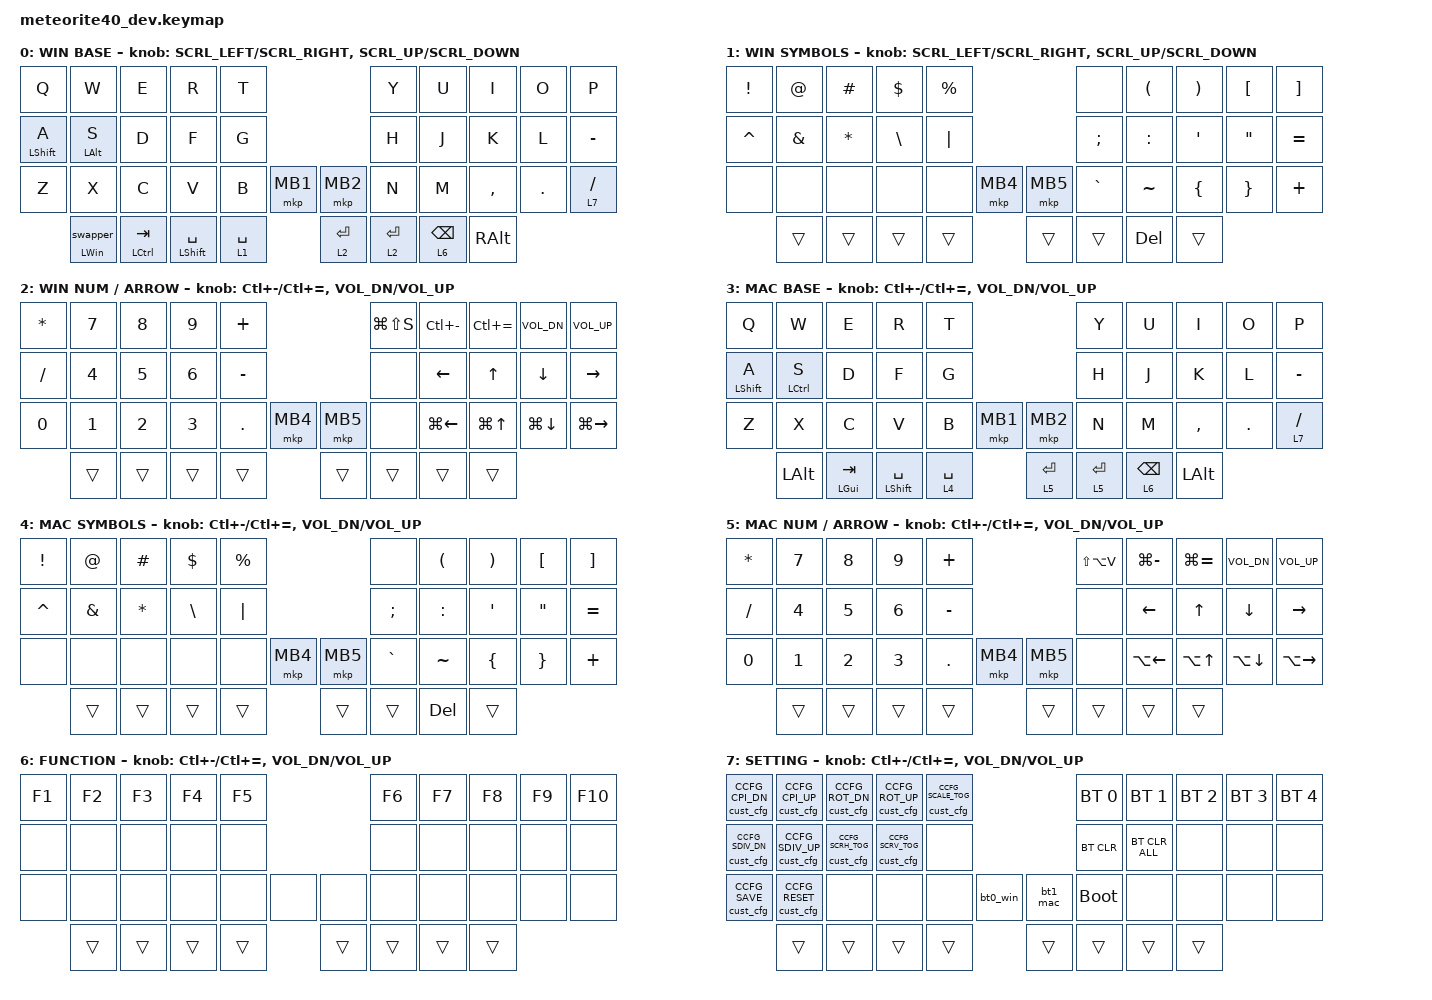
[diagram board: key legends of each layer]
#include <behaviors.dtsi>
#include <dt-bindings/zmk/bt.h>
#include <dt-bindings/zmk/keys.h>
#include <behaviors/custom_config.dtsi>
#include <dt-bindings/zmk/custom_config.h>

#define ZMK_POINTING_DEFAULT_SCRL_VAL 200
#include <dt-bindings/zmk/pointing.h>

&mt { 
	flavor = "tap-preferred"; // change hold to tap
	tapping-term-ms = <200>;
	quick-tap-ms = <150>; // change 200 to 150
};

&lt {
	flavor = "tap-preferred";
	tapping-term-ms = <150>; // change 200 to 150
	quick-tap-ms = <150>; // change 200 to 150
};

/ { 
    behaviors {
        bt0_win: bt0_win {
            compatible = "zmk,behavior-macro";
            label = "BT0_WIN";
            #binding-cells = <0>;
            wait-ms = <10>;
            bindings = <&bt BT_SEL 0>, <&to 0>;
        };

        bt1_mac: bt1_mac {
            compatible = "zmk,behavior-macro";
            label = "BT1_MAC";
            #binding-cells = <0>;
            wait-ms = <10>;
            bindings = <&bt BT_SEL 1>, <&to 3>;
        };

		swapper: swapper {
			compatible = "zmk,behavior-smart-toggle";
			#binding-cells = <0>;
			bindings = <&kp LALT>, <&kp TAB>;
			ignored-key-positions = <16 17 18 19 32 36>;  /* カーソル、LWIN、Layer2/Enter */
		};

		ht_sw: ht_sw {
			compatible = "zmk,behavior-hold-tap";
			#binding-cells = <2>;
			tapping-term-ms = <150>;
			flavor = "hold-preferred";			
			bindings = <&kp>, <&swapper>;
		}; 

        mouse_scroll: mouse_wheel {
            compatible = "zmk,behavior-sensor-rotate-var";
            #sensor-binding-cells = <2>;
            bindings = <&msc>, <&msc>;
            tap-ms = <25>;
        };
    };
	
	combos {
		compatible = "zmk,combos";

        //common win and mac
		lang1 {
			bindings = <&kp LANG1>;
			key-positions = <12 13>; /* D + F */
			layers = <0 3>;
		};

		lang2 {
			bindings = <&kp LANG2>;
			key-positions = <16 17>; /* J + K */
			layers = <0 3>;
		};

		esc {
			bindings = <&kp ESCAPE>;
			key-positions = <20 21>; /* Z + X */
			layers = <0 3>;
		};

		tab {
			bindings = <&kp TAB>;
			key-positions = <0 1>; /* Q + W */
			layers = <0 3>;
		};

        //win only
		home_win {
			bindings = <&kp HOME>;
			key-positions = <16 17>; /* J + K (on layer 2) */
			layers = <2>;
		};

		end_win {
			bindings = <&kp END>;
			key-positions = <18 19>; /* L + - (on layer 2) */
			layers = <2>;
		};

		ctrl_home_win {
			bindings = <&kp LC(HOME)>;
			key-positions = <16 18>; /* J + L (on layer 2) */
			layers = <2>;
		};

		ctrl_end_win {
			bindings = <&kp LC(END)>;
			key-positions = <17 19>; /* K + - (on layer 2) */
			layers = <2>;
		};

        //mac only
		home_mac {
			bindings = <&kp LG(LEFT)>;
			key-positions = <16 17>; /* J + K (on layer 5) */
			layers = <5>;
		};

		end_mac {
			bindings = <&kp LG(RIGHT)>;
			key-positions = <18 19>; /* L + - (on layer 5) */
			layers = <5>;
		};

		ctrl_home_mac {
			bindings = <&kp LG(UP)>;
			key-positions = <16 18>; /* J + L (on layer 5) */
			layers = <5>;
		};

		ctrl_end_mac {
			bindings = <&kp LG(DOWN)>;
			key-positions = <17 19>; /* K + - (on layer 5) */
			layers = <5>;
		};
	};

	keymap {
		compatible = "zmk,keymap";
		layout = &LAYOUT_2U_SPACE;

		win_base {
			display-name = "WIN BASE";
			bindings = <
				&kp Q        &kp W       &kp E        &kp R        &kp T                                 &kp Y        &kp U       &kp I       &kp O    &kp P
				&mt LSHIFT A &mt LALT S  &kp D        &kp F        &kp G                                 &kp H        &kp J       &kp K       &kp L    &kp MINUS
				&kp Z        &kp X       &kp C        &kp V        &kp B        &mkp MB1     &mkp MB2    &kp N        &kp M       &kp COMMA   &kp DOT  &lt 7 SLASH
								&ht_sw LWIN 0 &mt LCTRL TAB  &mt LSHIFT SPACE  &lt 1 SPACE  &lt 2 ENTER  &lt 2 ENTER  &lt 6 BSPC  &kp RALT
			>;

			sensor-bindings =
				<&mouse_scroll SCRL_LEFT SCRL_RIGHT>,
				<&mouse_scroll SCRL_UP SCRL_DOWN>;
				//<&inc_dec_kp LC(MINUS) LC(EQUAL)>, // RE0: ctrl + - / +
				//<&inc_dec_kp C_VOL_DN C_VOL_UP>; // RE1: volume down/up
		};

		win_layer_1 {
			display-name = "WIN SYMBOLS";
			bindings = <
				&kp EXCL   &kp AT    &kp HASH  &kp DLLR  &kp PRCNT                       &none      &kp LPAR   &kp RPAR   &kp LBKT   &kp RBKT
				&kp CARET  &kp AMPS  &kp STAR  &kp BSLH  &kp PIPE                        &kp SEMI   &kp COLON  &kp SQT    &kp DQT    &kp EQUAL
				&none      &none     &none     &none     &none      &mkp MB4  &mkp MB5   &kp GRAVE  &kp TILDE  &kp LBRC   &kp RBRC   &kp PLUS
									 &trans     &trans    &trans    &trans    &trans     &trans    &kp DEL     &trans
			>;

			sensor-bindings =
				<&mouse_scroll SCRL_LEFT SCRL_RIGHT>,
				<&mouse_scroll SCRL_UP SCRL_DOWN>;
		};

		win_layer_2 {
			display-name = "WIN NUM / ARROW";
			bindings = <
				&kp ASTRK        &kp N7     &kp N8     &kp N9     &kp PLUS                        &kp LG(LS(S)) &kp LC(MINUS) &kp LC(EQUAL) &kp C_VOL_DN &kp C_VOL_UP
				&kp SLASH        &kp N4     &kp N5     &kp N6     &kp MINUS                       &none         &kp LEFT      &kp UP        &kp DOWN     &kp RIGHT
				&kp N0           &kp N1     &kp N2     &kp N3     &kp DOT   &mkp MB4   &mkp MB5   &none         &kp LG(LEFT)  &kp LG(UP)    &kp LG(DOWN) &kp LG(RIGHT)
										&trans           &trans     &trans     &trans    &trans        &trans  &trans    &trans
			>;

			sensor-bindings =
				<&inc_dec_kp LC(MINUS) LC(EQUAL)>, // RE0: ctrl + - / +
				<&inc_dec_kp C_VOL_DN C_VOL_UP>; // RE1: volume down/up
		};

        mac_base {
            display-name = "MAC BASE";
            bindings = <
                &kp Q        &kp W       &kp E        &kp R        &kp T                                 &kp Y        &kp U       &kp I       &kp O  &kp P
                &mt LSHIFT A &mt LCTRL S &kp D        &kp F        &kp G                                 &kp H        &kp J       &kp K       &kp L  &kp MINUS
                &kp Z        &kp X       &kp C        &kp V        &kp B        &mkp MB1     &mkp MB2    &kp N        &kp M       &kp COMMA   &kp DOT  &lt 7 SLASH
                                &kp LALT  &mt LGUI TAB  &mt LSHIFT SPACE  &lt 4 SPACE  &lt 5 ENTER  &lt 5 ENTER  &lt 6 BSPC  &kp LALT
            >;

            sensor-bindings =
                <&inc_dec_kp LC(MINUS) LC(EQUAL)>,
                <&inc_dec_kp C_VOL_DN C_VOL_UP>;
        };

		mac_layer_4 {
			display-name = "MAC SYMBOLS";
			bindings = <
				&kp EXCL   &kp AT    &kp HASH  &kp DLLR  &kp PRCNT                       &none      &kp LPAR   &kp RPAR   &kp LBKT   &kp RBKT
				&kp CARET  &kp AMPS  &kp STAR  &kp BSLH  &kp PIPE                        &kp SEMI   &kp COLON  &kp SQT    &kp DQT    &kp EQUAL
				&none      &none     &none     &none     &none      &mkp MB4  &mkp MB5   &kp GRAVE  &kp TILDE  &kp LBRC   &kp RBRC   &kp PLUS
									 &trans     &trans    &trans    &trans    &trans     &trans    &kp DEL     &trans
			>;

			sensor-bindings =
				<&inc_dec_kp LC(MINUS) LC(EQUAL)>, // RE0: ctrl + - / +
				<&inc_dec_kp C_VOL_DN C_VOL_UP>; // RE1: volume down/up
		};

		mac_layer_5 {
			display-name = "MAC NUM / ARROW";
			bindings = <
				&kp ASTRK        &kp N7     &kp N8     &kp N9     &kp PLUS                        &kp LS(LA(V)) &kp LG(MINUS) &kp LG(EQUAL) &kp C_VOL_DN &kp C_VOL_UP
				&kp SLASH        &kp N4     &kp N5     &kp N6     &kp MINUS                       &none         &kp LEFT      &kp UP        &kp DOWN     &kp RIGHT
				&kp N0           &kp N1     &kp N2     &kp N3     &kp DOT   &mkp MB4   &mkp MB5   &none         &kp LA(LEFT)  &kp LA(UP)    &kp LA(DOWN) &kp LA(RIGHT)
										&trans           &trans     &trans     &trans    &trans        &trans  &trans    &trans
			>;

			sensor-bindings =
				<&inc_dec_kp LC(MINUS) LC(EQUAL)>, // RE0: ctrl + - / +
				<&inc_dec_kp C_VOL_DN C_VOL_UP>; // RE1: volume down/up
		};

		common_layer_6 {
			display-name = "FUNCTION";
			bindings = <
				&kp F1  &kp F2  &kp F3  &kp F4  &kp F5                  &kp F6  &kp F7  &kp F8  &kp F9  &kp F10
				&none   &none   &none   &none   &none                   &none   &none   &none   &none   &none
				&none   &none   &none   &none   &none   &none   &none   &none   &none   &none    &none  &none
								&trans  &trans  &trans  &trans  &trans  &trans  &trans  &trans
			>;

			sensor-bindings =
				<&inc_dec_kp LC(MINUS) LC(EQUAL)>, // RE0: ctrl + - / +
				<&inc_dec_kp C_VOL_DN C_VOL_UP>; // RE1: volume down/up
		};

		common_layer_7 {
			display-name = "SETTING";
			bindings = <
				&cust_cfg CCFG_CPI_DN  &cust_cfg CCFG_CPI_UP  &cust_cfg CCFG_ROT_DN   &cust_cfg CCFG_ROT_UP   &cust_cfg CCFG_SCALE_TOG                      &bt BT_SEL 0   &bt BT_SEL 1    &bt BT_SEL 2  &bt BT_SEL 3  &bt BT_SEL 4
				&cust_cfg CCFG_SDIV_DN &cust_cfg CCFG_SDIV_UP &cust_cfg CCFG_SCRH_TOG &cust_cfg CCFG_SCRV_TOG &none                                         &bt BT_CLR     &bt BT_CLR_ALL  &none         &none         &none
				&cust_cfg CCFG_SAVE    &cust_cfg CCFG_RESET   &none                   &none                   &none                    &bt0_win &bt1_mac    &bootloader    &none           &none         &none         &none
												                                                 &trans       &trans  &trans  &trans  &trans  &trans          &trans        &trans
			>;

			sensor-bindings =
				<&inc_dec_kp LC(MINUS) LC(EQUAL)>, // RE0: ctrl + - / +
				<&inc_dec_kp C_VOL_DN C_VOL_UP>; // RE1: volume down/up
		};

	};
};


